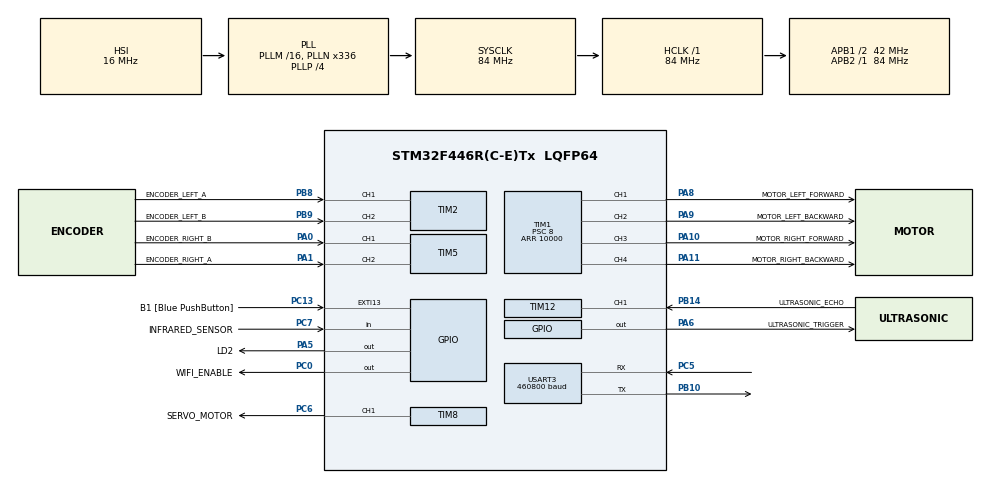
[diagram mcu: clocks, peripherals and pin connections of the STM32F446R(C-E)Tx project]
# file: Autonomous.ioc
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FREERTOS.Tasks01=DiffDriveTask,48,256,MoveDiffDrive,Default,NULL,Dynamic,NULL,NULL;TrajGenTask,48,128,TrajectoryGenerator,Default,NULL,Dynamic,NULL,NULL;InfraredTask,48,128,InfraredSensor,Default,NULL,Dynamic,NULL,NULL;TxTask,48,512,TxStream,Default,NULL,Dynamic,NULL,NULL
FREERTOS.configUSE_NEWLIB_REENTRANT=1
Mcu.Family=STM32F4
Mcu.Name=STM32F446R(C-E)Tx
Mcu.Package=LQFP64
NVIC.PriorityGroup=NVIC_PRIORITYGROUP_4
NVIC.TIM3_IRQn=true\:5\:0\:false\:false\:true\:true\:true\:true
NVIC.TIM6_DAC_IRQn=true\:0\:0\:false\:false\:true\:false\:false\:true
NVIC.TIM8_BRK_TIM12_IRQn=true\:5\:0\:false\:false\:true\:true\:true\:true
NVIC.TimeBase=TIM6_DAC_IRQn
NVIC.TimeBaseIP=TIM6
PA0-WKUP.GPIO_Label=ENCODER_RIGHT_B
PA0-WKUP.Signal=S_TIM5_CH1
PA1.GPIO_Label=ENCODER_RIGHT_A
PA1.Signal=S_TIM5_CH2
PA10.GPIO_Label=MOTOR_RIGHT_FORWARD
PA10.Signal=S_TIM1_CH3
PA11.GPIO_Label=MOTOR_RIGHT_BACKWARD
PA11.Signal=S_TIM1_CH4
PA13.GPIO_Label=TMS
PA13.Mode=Serial_Wire
PA13.Signal=SYS_JTMS-SWDIO
PA14.GPIO_Label=TCK
PA14.Mode=Serial_Wire
PA14.Signal=SYS_JTCK-SWCLK
PA2.GPIO_Label=USART_TX
PA2.Signal=USART2_TX
PA3.GPIO_Label=USART_RX
PA3.Signal=USART2_RX
PA5.GPIO_Label=LD2
PA5.Signal=GPIO_Output
PA6.GPIO_Label=ULTRASONIC_TRIGGER
PA6.Signal=GPIO_Output
PA8.GPIO_Label=MOTOR_LEFT_FORWARD
PA8.Signal=S_TIM1_CH1
PA9.GPIO_Label=MOTOR_LEFT_BACKWARD
PA9.Signal=S_TIM1_CH2
PB10.Mode=Asynchronous
PB10.Signal=USART3_TX
PB14.GPIO_Label=ULTRASONIC_ECHO
PB14.Signal=S_TIM12_CH1
PB3.GPIO_Label=SWO
PB3.Signal=SYS_JTDO-SWO
PB8.GPIO_Label=ENCODER_LEFT_A
PB8.Signal=S_TIM2_CH1_ETR
PB9.GPIO_Label=ENCODER_LEFT_B
PB9.Signal=S_TIM2_CH2
PC0.GPIO_Label=WIFI_ENABLE
PC0.GPIO_PuPd=GPIO_NOPULL
PC0.PinState=GPIO_PIN_RESET
PC0.Signal=GPIO_Output
PC13.GPIO_Label=B1 [Blue PushButton]
PC13.GPIO_ModeDefaultEXTI=GPIO_MODE_IT_FALLING
PC13.Signal=GPXTI13
PC14-OSC32_IN.Mode=LSE-External-Oscillator
PC14-OSC32_IN.Signal=RCC_OSC32_IN
PC15-OSC32_OUT.Mode=LSE-External-Oscillator
PC15-OSC32_OUT.Signal=RCC_OSC32_OUT
PC5.Mode=Asynchronous
PC5.Signal=USART3_RX
PC6.GPIO_Label=SERVO_MOTOR
PC6.Signal=S_TIM8_CH1
PC7.GPIO_Label=INFRARED_SENSOR
PC7.Signal=GPIO_Input
PH0-OSC_IN.Mode=HSE-External-Oscillator
PH0-OSC_IN.Signal=RCC_OSC_IN
PH1-OSC_OUT.Mode=HSE-External-Oscillator
PH1-OSC_OUT.Signal=RCC_OSC_OUT
ProjectManager.HeapSize=0x200
ProjectManager.StackSize=0x400
ProjectManager.TargetToolchain=STM32CubeIDE
RCC.48MHZClocksFreq_Value=84000000
RCC.AHBFreq_Value=84000000
RCC.APB1CLKDivider=RCC_HCLK_DIV2
RCC.APB1Freq_Value=42000000
RCC.APB1TimFreq_Value=84000000
RCC.APB2Freq_Value=84000000
RCC.APB2TimFreq_Value=84000000
RCC.CortexFreq_Value=84000000
RCC.FLatency-AdvancedSettings=FLASH_LATENCY_2
RCC.HCLKFreq_Value=84000000
RCC.HSE_VALUE=8000000
RCC.HSI_VALUE=16000000
RCC.PLLN=336
RCC.PLLP=RCC_PLLP_DIV4
RCC.SYSCLKFreq_VALUE=84000000
RCC.SYSCLKSource=RCC_SYSCLKSOURCE_PLLCLK
RCC.USBFreq_Value=168000000
RCC.VCOOutputFreq_Value=336000000
SH.S_TIM12_CH1.0=TIM12_CH1,Input_Capture1_from_TI1
SH.S_TIM1_CH1.0=TIM1_CH1,PWM Generation1 CH1
SH.S_TIM1_CH2.0=TIM1_CH2,PWM Generation2 CH2
SH.S_TIM1_CH3.0=TIM1_CH3,PWM Generation3 CH3
SH.S_TIM1_CH4.0=TIM1_CH4,PWM Generation4 CH4
SH.S_TIM2_CH1_ETR.0=TIM2_CH1,Encoder_Interface
SH.S_TIM2_CH2.0=TIM2_CH2,Encoder_Interface
SH.S_TIM5_CH1.0=TIM5_CH1,Encoder_Interface
SH.S_TIM5_CH2.0=TIM5_CH2,Encoder_Interface
SH.S_TIM8_CH1.0=TIM8_CH1,PWM Generation1 CH1
TIM1.Channel-PWM\ Generation1\ CH1=TIM_CHANNEL_1
TIM1.Channel-PWM\ Generation2\ CH2=TIM_CHANNEL_2
TIM1.Channel-PWM\ Generation3\ CH3=TIM_CHANNEL_3
TIM1.Channel-PWM\ Generation4\ CH4=TIM_CHANNEL_4
TIM1.Period=10000
TIM1.Prescaler=8
TIM12.Channel-Input_Capture1_from_TI1=TIM_CHANNEL_1
TIM12.ICPolarity_CH1=TIM_INPUTCHANNELPOLARITY_BOTHEDGE
TIM12.Period=0xffff
TIM12.Prescaler=84-1
TIM2.IC1Filter=15
TIM2.IC2Filter=15
TIM5.IC1Filter=15
TIM5.IC2Filter=15
TIM8.Channel-PWM\ Generation1\ CH1=TIM_CHANNEL_1
USART3.BaudRate=460800
USART3.VirtualMode=VM_ASYNC
VP_FREERTOS_VS_CMSIS_V2.Mode=CMSIS_V2
VP_SYS_VS_tim6.Mode=TIM6
VP_TIM12_VS_ClockSourceINT.Mode=Internal
VP_TIM1_VS_ClockSourceINT.Mode=Internal
VP_TIM3_VS_ClockSourceINT.Mode=Internal
VP_TIM8_VS_ClockSourceINT.Mode=Internal
board=NUCLEO-F446RE

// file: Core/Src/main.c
/* USER CODE BEGIN Header */
/**
  ******************************************************************************
  * @file           : main.c
  * @brief          : Main program body
  ******************************************************************************
  * @attention
  *
  * <h2><center>&copy; Copyright (c) 2021 STMicroelectronics.
  * All rights reserved.</center></h2>
  *
  * This software component is licensed by ST under BSD 3-Clause license,
  * the "License"; You may not use this file except in compliance with the
  * License. You may obtain a copy of the License at:
  *                        https://opensource.org/licenses/BSD-3-Clause
  *
  ******************************************************************************
  */
/* USER CODE END Header */
#include "main.h"
#include "cmsis_os.h"

/* USER CODE BEGIN Includes */

//#include "my_lib/retarget.h"
#include "my_lib/differential_drive.h"
#include "my_lib/datastream.h"
#include "my_lib/digital_filters.h"
#include "my_lib/ultrasonic_sensor.h"
#include "my_lib/servo.h"

#include <my_data/control_parameters.h>
#include "my_data/diffdrive_parameters.h"

#include "stdbool.h"

#include <stdio.h>
#include <stdlib.h>
#include <math.h>

/* USER CODE END Includes */

/* USER CODE BEGIN PD */

//#define TEST_ULTRASONIC

/* USER CODE END PD */

TIM_HandleTypeDef htim1;
TIM_HandleTypeDef htim2;
TIM_HandleTypeDef htim3;
TIM_HandleTypeDef htim5;
TIM_HandleTypeDef htim8;
TIM_HandleTypeDef htim12;

UART_HandleTypeDef huart3;

/* Definitions for DiffDriveTask */
osThreadId_t DiffDriveTaskHandle;
const osThreadAttr_t DiffDriveTask_attributes = {
  .name = "DiffDriveTask",
  .stack_size = 256 * 4,
  .priority = (osPriority_t) osPriorityRealtime,
};
/* Definitions for TrajGenTask */
osThreadId_t TrajGenTaskHandle;
const osThreadAttr_t TrajGenTask_attributes = {
  .name = "TrajGenTask",
  .stack_size = 128 * 4,
  .priority = (osPriority_t) osPriorityRealtime,
};
/* Definitions for InfraredTask */
osThreadId_t InfraredTaskHandle;
const osThreadAttr_t InfraredTask_attributes = {
  .name = "InfraredTask",
  .stack_size = 128 * 4,
  .priority = (osPriority_t) osPriorityRealtime,
};
/* Definitions for TxTask */
osThreadId_t TxTaskHandle;
const osThreadAttr_t TxTask_attributes = {
  .name = "TxTask",
  .stack_size = 512 * 4,
  .priority = (osPriority_t) osPriorityRealtime,
};
/* USER CODE BEGIN PV */

// Handles of my libraries

DIFFDRIVE_HandleTypeDef  hdiffdrive;
MAF_HandleTypeDef        hmaf_trajGen_v;
MAF_HandleTypeDef        hmaf_trajGen_om;
MAF_HandleTypeDef        hmaf_diffDrive_v;
MAF_HandleTypeDef        hmaf_diffDrive_om;
MAF_HandleTypeDef		 hfilter_infrared;

ULTRASONIC_HandleTypeDef hultra;
SERVO_HandleTypeDef      hservo;
DATASTREAM_HandleTypeDef hstream;

/* USER CODE END PV */

void SystemClock_Config(void);
static void MX_GPIO_Init(void);
static void MX_TIM2_Init(void);
static void MX_TIM1_Init(void);
static void MX_TIM3_Init(void);
static void MX_TIM5_Init(void);
static void MX_TIM12_Init(void);
static void MX_TIM8_Init(void);
static void MX_USART3_UART_Init(void);
void MoveDiffDrive(void *argument);
void TrajectoryGenerator(void *argument);
void InfraredSensor(void *argument);
void TxStream(void *argument);

/* USER CODE BEGIN PFP */

static void MAIN_DIFFDRIVE_Init(void);
static void MAIN_ULTRASONIC_Init(void);
static void MAIN_MAF_Init(void);
static void MAIN_SERVO_Init(void);
static void MAIN_DATASTREAM_Init(void);

/* USER CODE END PFP */

/* USER CODE BEGIN 0 */

/* Globals */

// ---- Global variables, shared between threads ------ //

volatile float linear=0, angular=0;
volatile bool near_obstacle= true;
volatile bool diffDrive_enabled= true;
volatile bool diffDrive_stopped= true;

/* USER CODE END 0 */

int main(void)
{

  /* MCU Configuration--------------------------------------------------------*/

  /* Reset of all peripherals, Initializes the Flash interface and the Systick. */
  HAL_Init();

  /* Configure the system clock */
  SystemClock_Config();

  /* Initialize all configured peripherals */
  MX_GPIO_Init();
  MX_TIM2_Init();
  MX_TIM1_Init();
  MX_TIM3_Init();
  MX_TIM5_Init();
  MX_TIM12_Init();
  MX_TIM8_Init();
  MX_USART3_UART_Init();
  /* USER CODE BEGIN 2 */

  // Initialize my libraries
  MAIN_DIFFDRIVE_Init();
  MAIN_DATASTREAM_Init();
  MAIN_ULTRASONIC_Init();
  MAIN_MAF_Init();
  MAIN_SERVO_Init();

  // Wait until blue button is pressed
  while( HAL_GPIO_ReadPin(B1_GPIO_Port, B1_Pin) )
  		;

  // Wait a bit
  HAL_Delay(1000);

  /* USER CODE END 2 */

  /* Init scheduler */
  osKernelInitialize();

  /* Create the thread(s) */
  /* creation of DiffDriveTask */
  DiffDriveTaskHandle = osThreadNew(MoveDiffDrive, NULL, &DiffDriveTask_attributes);

  /* creation of TrajGenTask */
  TrajGenTaskHandle = osThreadNew(TrajectoryGenerator, NULL, &TrajGenTask_attributes);

  /* creation of InfraredTask */
  InfraredTaskHandle = osThreadNew(InfraredSensor, NULL, &InfraredTask_attributes);

  /* creation of TxTask */
  TxTaskHandle = osThreadNew(TxStream, NULL, &TxTask_attributes);

  /* Start scheduler */
  osKernelStart();

  /* We should never get here as control is now taken by the scheduler */
  /* Infinite loop */
  while (1)
  {

  }
}

void SystemClock_Config(void)
{
  RCC_OscInitTypeDef RCC_OscInitStruct = {0};
  RCC_ClkInitTypeDef RCC_ClkInitStruct = {0};

  /** Configure the main internal regulator output voltage
  */
  __HAL_RCC_PWR_CLK_ENABLE();
  __HAL_PWR_VOLTAGESCALING_CONFIG(PWR_REGULATOR_VOLTAGE_SCALE3);
  /** Initializes the RCC Oscillators according to the specified parameters
  * in the RCC_OscInitTypeDef structure.
  */
  RCC_OscInitStruct.OscillatorType = RCC_OSCILLATORTYPE_HSI;
  RCC_OscInitStruct.HSIState = RCC_HSI_ON;
  RCC_OscInitStruct.HSICalibrationValue = RCC_HSICALIBRATION_DEFAULT;
  RCC_OscInitStruct.PLL.PLLState = RCC_PLL_ON;
  RCC_OscInitStruct.PLL.PLLSource = RCC_PLLSOURCE_HSI;
  RCC_OscInitStruct.PLL.PLLM = 16;
  RCC_OscInitStruct.PLL.PLLN = 336;
  RCC_OscInitStruct.PLL.PLLP = RCC_PLLP_DIV4;
  RCC_OscInitStruct.PLL.PLLQ = 2;
  RCC_OscInitStruct.PLL.PLLR = 2;
  if (HAL_RCC_OscConfig(&RCC_OscInitStruct) != HAL_OK)
  {
    Error_Handler();
  }
  /** Initializes the CPU, AHB and APB buses clocks
  */
  RCC_ClkInitStruct.ClockType = RCC_CLOCKTYPE_HCLK|RCC_CLOCKTYPE_SYSCLK
                              |RCC_CLOCKTYPE_PCLK1|RCC_CLOCKTYPE_PCLK2;
  RCC_ClkInitStruct.SYSCLKSource = RCC_SYSCLKSOURCE_PLLCLK;
  RCC_ClkInitStruct.AHBCLKDivider = RCC_SYSCLK_DIV1;
  RCC_ClkInitStruct.APB1CLKDivider = RCC_HCLK_DIV2;
  RCC_ClkInitStruct.APB2CLKDivider = RCC_HCLK_DIV1;

  if (HAL_RCC_ClockConfig(&RCC_ClkInitStruct, FLASH_LATENCY_2) != HAL_OK)
  {
    Error_Handler();
  }
}

static void MX_TIM1_Init(void)
{

  TIM_ClockConfigTypeDef sClockSourceConfig = {0};
  TIM_MasterConfigTypeDef sMasterConfig = {0};
  TIM_OC_InitTypeDef sConfigOC = {0};
  TIM_BreakDeadTimeConfigTypeDef sBreakDeadTimeConfig = {0};

  htim1.Instance = TIM1;
  htim1.Init.Prescaler = 8;
  htim1.Init.CounterMode = TIM_COUNTERMODE_UP;
  htim1.Init.Period = 10000;
  htim1.Init.ClockDivision = TIM_CLOCKDIVISION_DIV1;
  htim1.Init.RepetitionCounter = 0;
  htim1.Init.AutoReloadPreload = TIM_AUTORELOAD_PRELOAD_DISABLE;
  if (HAL_TIM_Base_Init(&htim1) != HAL_OK)
  {
    Error_Handler();
  }
  sClockSourceConfig.ClockSource = TIM_CLOCKSOURCE_INTERNAL;
  if (HAL_TIM_ConfigClockSource(&htim1, &sClockSourceConfig) != HAL_OK)
  {
    Error_Handler();
  }
  if (HAL_TIM_PWM_Init(&htim1) != HAL_OK)
  {
    Error_Handler();
  }
  sMasterConfig.MasterOutputTrigger = TIM_TRGO_RESET;
  sMasterConfig.MasterSlaveMode = TIM_MASTERSLAVEMODE_DISABLE;
  if (HAL_TIMEx_MasterConfigSynchronization(&htim1, &sMasterConfig) != HAL_OK)
  {
    Error_Handler();
  }
  sConfigOC.OCMode = TIM_OCMODE_PWM1;
  sConfigOC.Pulse = 0;
  sConfigOC.OCPolarity = TIM_OCPOLARITY_HIGH;
  sConfigOC.OCNPolarity = TIM_OCNPOLARITY_HIGH;
  sConfigOC.OCFastMode = TIM_OCFAST_DISABLE;
  sConfigOC.OCIdleState = TIM_OCIDLESTATE_RESET;
  sConfigOC.OCNIdleState = TIM_OCNIDLESTATE_RESET;
  if (HAL_TIM_PWM_ConfigChannel(&htim1, &sConfigOC, TIM_CHANNEL_1) != HAL_OK)
  {
    Error_Handler();
  }
  if (HAL_TIM_PWM_ConfigChannel(&htim1, &sConfigOC, TIM_CHANNEL_2) != HAL_OK)
  {
    Error_Handler();
  }
  if (HAL_TIM_PWM_ConfigChannel(&htim1, &sConfigOC, TIM_CHANNEL_3) != HAL_OK)
  {
    Error_Handler();
  }
  if (HAL_TIM_PWM_ConfigChannel(&htim1, &sConfigOC, TIM_CHANNEL_4) != HAL_OK)
  {
    Error_Handler();
  }
  sBreakDeadTimeConfig.OffStateRunMode = TIM_OSSR_DISABLE;
  sBreakDeadTimeConfig.OffStateIDLEMode = TIM_OSSI_DISABLE;
  sBreakDeadTimeConfig.LockLevel = TIM_LOCKLEVEL_OFF;
  sBreakDeadTimeConfig.DeadTime = 0;
  sBreakDeadTimeConfig.BreakState = TIM_BREAK_DISABLE;
  sBreakDeadTimeConfig.BreakPolarity = TIM_BREAKPOLARITY_HIGH;
  sBreakDeadTimeConfig.AutomaticOutput = TIM_AUTOMATICOUTPUT_DISABLE;
  if (HAL_TIMEx_ConfigBreakDeadTime(&htim1, &sBreakDeadTimeConfig) != HAL_OK)
  {
    Error_Handler();
  }
  HAL_TIM_MspPostInit(&htim1);

}

static void MX_TIM2_Init(void)
{

  TIM_Encoder_InitTypeDef sConfig = {0};
  TIM_MasterConfigTypeDef sMasterConfig = {0};

  htim2.Instance = TIM2;
  htim2.Init.Prescaler = 0;
  htim2.Init.CounterMode = TIM_COUNTERMODE_UP;
  htim2.Init.Period = 4294967295;
  htim2.Init.ClockDivision = TIM_CLOCKDIVISION_DIV1;
  htim2.Init.AutoReloadPreload = TIM_AUTORELOAD_PRELOAD_DISABLE;
  sConfig.EncoderMode = TIM_ENCODERMODE_TI1;
  sConfig.IC1Polarity = TIM_ICPOLARITY_RISING;
  sConfig.IC1Selection = TIM_ICSELECTION_DIRECTTI;
  sConfig.IC1Prescaler = TIM_ICPSC_DIV1;
  sConfig.IC1Filter = 15;
  sConfig.IC2Polarity = TIM_ICPOLARITY_RISING;
  sConfig.IC2Selection = TIM_ICSELECTION_DIRECTTI;
  sConfig.IC2Prescaler = TIM_ICPSC_DIV1;
  sConfig.IC2Filter = 15;
  if (HAL_TIM_Encoder_Init(&htim2, &sConfig) != HAL_OK)
  {
    Error_Handler();
  }
  sMasterConfig.MasterOutputTrigger = TIM_TRGO_RESET;
  sMasterConfig.MasterSlaveMode = TIM_MASTERSLAVEMODE_DISABLE;
  if (HAL_TIMEx_MasterConfigSynchronization(&htim2, &sMasterConfig) != HAL_OK)
  {
    Error_Handler();
  }

}

static void MX_TIM3_Init(void)
{

  TIM_ClockConfigTypeDef sClockSourceConfig = {0};
  TIM_MasterConfigTypeDef sMasterConfig = {0};

  htim3.Instance = TIM3;
  htim3.Init.Prescaler = 0;
  htim3.Init.CounterMode = TIM_COUNTERMODE_UP;
  htim3.Init.Period = 65535;
  htim3.Init.ClockDivision = TIM_CLOCKDIVISION_DIV1;
  htim3.Init.AutoReloadPreload = TIM_AUTORELOAD_PRELOAD_DISABLE;
  if (HAL_TIM_Base_Init(&htim3) != HAL_OK)
  {
    Error_Handler();
  }
  sClockSourceConfig.ClockSource = TIM_CLOCKSOURCE_INTERNAL;
  if (HAL_TIM_ConfigClockSource(&htim3, &sClockSourceConfig) != HAL_OK)
  {
    Error_Handler();
  }
  sMasterConfig.MasterOutputTrigger = TIM_TRGO_RESET;
  sMasterConfig.MasterSlaveMode = TIM_MASTERSLAVEMODE_DISABLE;
  if (HAL_TIMEx_MasterConfigSynchronization(&htim3, &sMasterConfig) != HAL_OK)
  {
    Error_Handler();
  }

}

static void MX_TIM5_Init(void)
{

  TIM_Encoder_InitTypeDef sConfig = {0};
  TIM_MasterConfigTypeDef sMasterConfig = {0};

  htim5.Instance = TIM5;
  htim5.Init.Prescaler = 0;
  htim5.Init.CounterMode = TIM_COUNTERMODE_UP;
  htim5.Init.Period = 4294967295;
  htim5.Init.ClockDivision = TIM_CLOCKDIVISION_DIV1;
  htim5.Init.AutoReloadPreload = TIM_AUTORELOAD_PRELOAD_DISABLE;
  sConfig.EncoderMode = TIM_ENCODERMODE_TI1;
  sConfig.IC1Polarity = TIM_ICPOLARITY_RISING;
  sConfig.IC1Selection = TIM_ICSELECTION_DIRECTTI;
  sConfig.IC1Prescaler = TIM_ICPSC_DIV1;
  sConfig.IC1Filter = 15;
  sConfig.IC2Polarity = TIM_ICPOLARITY_RISING;
  sConfig.IC2Selection = TIM_ICSELECTION_DIRECTTI;
  sConfig.IC2Prescaler = TIM_ICPSC_DIV1;
  sConfig.IC2Filter = 15;
  if (HAL_TIM_Encoder_Init(&htim5, &sConfig) != HAL_OK)
  {
    Error_Handler();
  }
  sMasterConfig.MasterOutputTrigger = TIM_TRGO_RESET;
  sMasterConfig.MasterSlaveMode = TIM_MASTERSLAVEMODE_DISABLE;
  if (HAL_TIMEx_MasterConfigSynchronization(&htim5, &sMasterConfig) != HAL_OK)
  {
    Error_Handler();
  }

}

static void MX_TIM8_Init(void)
{

  TIM_ClockConfigTypeDef sClockSourceConfig = {0};
  TIM_MasterConfigTypeDef sMasterConfig = {0};
  TIM_OC_InitTypeDef sConfigOC = {0};
  TIM_BreakDeadTimeConfigTypeDef sBreakDeadTimeConfig = {0};

  htim8.Instance = TIM8;
  htim8.Init.Prescaler = 0;
  htim8.Init.CounterMode = TIM_COUNTERMODE_UP;
  htim8.Init.Period = 65535;
  htim8.Init.ClockDivision = TIM_CLOCKDIVISION_DIV1;
  htim8.Init.RepetitionCounter = 0;
  htim8.Init.AutoReloadPreload = TIM_AUTORELOAD_PRELOAD_DISABLE;
  if (HAL_TIM_Base_Init(&htim8) != HAL_OK)
  {
    Error_Handler();
  }
  sClockSourceConfig.ClockSource = TIM_CLOCKSOURCE_INTERNAL;
  if (HAL_TIM_ConfigClockSource(&htim8, &sClockSourceConfig) != HAL_OK)
  {
    Error_Handler();
  }
  if (HAL_TIM_PWM_Init(&htim8) != HAL_OK)
  {
    Error_Handler();
  }
  sMasterConfig.MasterOutputTrigger = TIM_TRGO_RESET;
  sMasterConfig.MasterSlaveMode = TIM_MASTERSLAVEMODE_DISABLE;
  if (HAL_TIMEx_MasterConfigSynchronization(&htim8, &sMasterConfig) != HAL_OK)
  {
    Error_Handler();
  }
  sConfigOC.OCMode = TIM_OCMODE_PWM1;
  sConfigOC.Pulse = 0;
  sConfigOC.OCPolarity = TIM_OCPOLARITY_HIGH;
  sConfigOC.OCNPolarity = TIM_OCNPOLARITY_HIGH;
  sConfigOC.OCFastMode = TIM_OCFAST_DISABLE;
  sConfigOC.OCIdleState = TIM_OCIDLESTATE_RESET;
  sConfigOC.OCNIdleState = TIM_OCNIDLESTATE_RESET;
  if (HAL_TIM_PWM_ConfigChannel(&htim8, &sConfigOC, TIM_CHANNEL_1) != HAL_OK)
  {
    Error_Handler();
  }
  sBreakDeadTimeConfig.OffStateRunMode = TIM_OSSR_DISABLE;
  sBreakDeadTimeConfig.OffStateIDLEMode = TIM_OSSI_DISABLE;
  sBreakDeadTimeConfig.LockLevel = TIM_LOCKLEVEL_OFF;
  sBreakDeadTimeConfig.DeadTime = 0;
  sBreakDeadTimeConfig.BreakState = TIM_BREAK_DISABLE;
  sBreakDeadTimeConfig.BreakPolarity = TIM_BREAKPOLARITY_HIGH;
  sBreakDeadTimeConfig.AutomaticOutput = TIM_AUTOMATICOUTPUT_DISABLE;
  if (HAL_TIMEx_ConfigBreakDeadTime(&htim8, &sBreakDeadTimeConfig) != HAL_OK)
  {
    Error_Handler();
  }
  HAL_TIM_MspPostInit(&htim8);

}

static void MX_TIM12_Init(void)
{

  TIM_ClockConfigTypeDef sClockSourceConfig = {0};
  TIM_IC_InitTypeDef sConfigIC = {0};

  htim12.Instance = TIM12;
  htim12.Init.Prescaler = 84-1;
  htim12.Init.CounterMode = TIM_COUNTERMODE_UP;
  htim12.Init.Period = 0xffff;
  htim12.Init.ClockDivision = TIM_CLOCKDIVISION_DIV1;
  htim12.Init.AutoReloadPreload = TIM_AUTORELOAD_PRELOAD_DISABLE;
  if (HAL_TIM_Base_Init(&htim12) != HAL_OK)
  {
    Error_Handler();
  }
  sClockSourceConfig.ClockSource = TIM_CLOCKSOURCE_INTERNAL;
  if (HAL_TIM_ConfigClockSource(&htim12, &sClockSourceConfig) != HAL_OK)
  {
    Error_Handler();
  }
  if (HAL_TIM_IC_Init(&htim12) != HAL_OK)
  {
    Error_Handler();
  }
  sConfigIC.ICPolarity = TIM_INPUTCHANNELPOLARITY_BOTHEDGE;
  sConfigIC.ICSelection = TIM_ICSELECTION_DIRECTTI;
  sConfigIC.ICPrescaler = TIM_ICPSC_DIV1;
  sConfigIC.ICFilter = 0;
  if (HAL_TIM_IC_ConfigChannel(&htim12, &sConfigIC, TIM_CHANNEL_1) != HAL_OK)
  {
    Error_Handler();
  }

}

static void MX_USART3_UART_Init(void)
{

  huart3.Instance = USART3;
  huart3.Init.BaudRate = 460800;
  huart3.Init.WordLength = UART_WORDLENGTH_8B;
  huart3.Init.StopBits = UART_STOPBITS_1;
  huart3.Init.Parity = UART_PARITY_NONE;
  huart3.Init.Mode = UART_MODE_TX_RX;
  huart3.Init.HwFlowCtl = UART_HWCONTROL_NONE;
  huart3.Init.OverSampling = UART_OVERSAMPLING_16;
  if (HAL_UART_Init(&huart3) != HAL_OK)
  {
    Error_Handler();
  }

}

static void MX_GPIO_Init(void)
{
  GPIO_InitTypeDef GPIO_InitStruct = {0};

  /* GPIO Ports Clock Enable */
  __HAL_RCC_GPIOC_CLK_ENABLE();
  __HAL_RCC_GPIOH_CLK_ENABLE();
  __HAL_RCC_GPIOA_CLK_ENABLE();
  __HAL_RCC_GPIOB_CLK_ENABLE();

  /*Configure GPIO pin Output Level */
  HAL_GPIO_WritePin(WIFI_ENABLE_GPIO_Port, WIFI_ENABLE_Pin, GPIO_PIN_RESET);

  /*Configure GPIO pin Output Level */
  HAL_GPIO_WritePin(GPIOA, LD2_Pin|ULTRASONIC_TRIGGER_Pin, GPIO_PIN_RESET);

  /*Configure GPIO pin : B1_Pin */
  GPIO_InitStruct.Pin = B1_Pin;
  GPIO_InitStruct.Mode = GPIO_MODE_IT_FALLING;
  GPIO_InitStruct.Pull = GPIO_NOPULL;
  HAL_GPIO_Init(B1_GPIO_Port, &GPIO_InitStruct);

  /*Configure GPIO pin : WIFI_ENABLE_Pin */
  GPIO_InitStruct.Pin = WIFI_ENABLE_Pin;
  GPIO_InitStruct.Mode = GPIO_MODE_OUTPUT_PP;
  GPIO_InitStruct.Pull = GPIO_NOPULL;
  GPIO_InitStruct.Speed = GPIO_SPEED_FREQ_LOW;
  HAL_GPIO_Init(WIFI_ENABLE_GPIO_Port, &GPIO_InitStruct);

  /*Configure GPIO pins : USART_TX_Pin USART_RX_Pin */
  GPIO_InitStruct.Pin = USART_TX_Pin|USART_RX_Pin;
  GPIO_InitStruct.Mode = GPIO_MODE_AF_PP;
  GPIO_InitStruct.Pull = GPIO_NOPULL;
  GPIO_InitStruct.Speed = GPIO_SPEED_FREQ_VERY_HIGH;
  GPIO_InitStruct.Alternate = GPIO_AF7_USART2;
  HAL_GPIO_Init(GPIOA, &GPIO_InitStruct);

  /*Configure GPIO pins : LD2_Pin ULTRASONIC_TRIGGER_Pin */
  GPIO_InitStruct.Pin = LD2_Pin|ULTRASONIC_TRIGGER_Pin;
  GPIO_InitStruct.Mode = GPIO_MODE_OUTPUT_PP;
  GPIO_InitStruct.Pull = GPIO_NOPULL;
  GPIO_InitStruct.Speed = GPIO_SPEED_FREQ_LOW;
  HAL_GPIO_Init(GPIOA, &GPIO_InitStruct);

  /*Configure GPIO pin : INFRARED_SENSOR_Pin */
  GPIO_InitStruct.Pin = INFRARED_SENSOR_Pin;
  GPIO_InitStruct.Mode = GPIO_MODE_INPUT;
  GPIO_InitStruct.Pull = GPIO_NOPULL;
  HAL_GPIO_Init(INFRARED_SENSOR_GPIO_Port, &GPIO_InitStruct);

}

/* USER CODE BEGIN 4 */

static void MAIN_DATASTREAM_Init(void){

	DATASTREAM_InitTypeDef DATASTREAM_InitStruct;

	DATASTREAM_InitStruct.DMA_Rx_Enable= false;
	DATASTREAM_InitStruct.huart= &huart3;

	hstream.Init= DATASTREAM_InitStruct;

	DATASTREAM_Init(&hstream);

}

static void MAIN_DIFFDRIVE_Init(void){

	uint16_t max_sample= 1200u;

	hdiffdrive.Init.timing_htim= &htim3;
	hdiffdrive.Init.timing_time_step= TIME_STEP;

	hdiffdrive.Init.encoder_htim[left ]= &htim2;
	hdiffdrive.Init.encoder_htim[right]= &htim5;
	hdiffdrive.Init.encoder_tim_channel[left ]= TIM_CHANNEL_1;
	hdiffdrive.Init.encoder_tim_channel[right]= TIM_CHANNEL_1;
	hdiffdrive.Init.encoder_tim_arr_resolution[left ]= 32;
	hdiffdrive.Init.encoder_tim_arr_resolution[right]= 32;

	hdiffdrive.Init.encoder_resolution[left ]= 1900; //1920; // Number of step each wheel revolution
	hdiffdrive.Init.encoder_resolution[right]= 1900; //1920;

	hdiffdrive.Init.motor_htim[left ][forward ]= &htim1;
	hdiffdrive.Init.motor_htim[left ][backward]= &htim1;
	hdiffdrive.Init.motor_htim[right][forward ]= &htim1;
	hdiffdrive.Init.motor_htim[right][backward]= &htim1;

	hdiffdrive.Init.motor_pwm_channel[left ][forward ]= TIM_CHANNEL_1;
	hdiffdrive.Init.motor_pwm_channel[left ][backward]= TIM_CHANNEL_2;
	hdiffdrive.Init.motor_pwm_channel[right][forward ]= TIM_CHANNEL_3;
	hdiffdrive.Init.motor_pwm_channel[right][backward]= TIM_CHANNEL_4;

	hdiffdrive.Init.motor_max_voltage[left ]= 	 MOTOR_MAX_VOLTAGE;
	hdiffdrive.Init.motor_max_voltage[right]= 	 MOTOR_MAX_VOLTAGE;
	hdiffdrive.Init.motor_min_voltage[left ]= 	 MOTOR_MIN_VOLTAGE;
	hdiffdrive.Init.motor_min_voltage[right]= 	 MOTOR_MIN_VOLTAGE;
	hdiffdrive.Init.motor_supply_voltage[left]=  SUPPLY_VOLTAGE;
	hdiffdrive.Init.motor_supply_voltage[right]= SUPPLY_VOLTAGE;

	hdiffdrive.Init.control_fdfrwrd_arma_AR[left ]= AR_L;
	hdiffdrive.Init.control_fdfrwrd_arma_AR[right]= AR_R;
	hdiffdrive.Init.control_fdfrwrd_arma_MA[left ]= MA_L;
	hdiffdrive.Init.control_fdfrwrd_arma_MA[right]= MA_R;
	hdiffdrive.Init.control_fdfrwrd_arma_n_ar[left ]= N_AR_L;
	hdiffdrive.Init.control_fdfrwrd_arma_n_ar[right]= N_AR_R;
	hdiffdrive.Init.control_fdfrwrd_arma_n_ma[left ]= N_MA_L;
	hdiffdrive.Init.control_fdfrwrd_arma_n_ma[right]= N_MA_R;
	hdiffdrive.Init.control_fdfrwrd_arma_tau[left ]= TAU_L;
	hdiffdrive.Init.control_fdfrwrd_arma_tau[right]= TAU_R;

	hdiffdrive.Init.control_pid_P[left ]= PID_P_L;
	hdiffdrive.Init.control_pid_P[right]= PID_P_R;
	hdiffdrive.Init.control_pid_I[left ]= PID_I_L;
	hdiffdrive.Init.control_pid_I[right]= PID_I_R;
	hdiffdrive.Init.control_pid_D[left ]= PID_D_L;
	hdiffdrive.Init.control_pid_D[right]= PID_D_R;

	hdiffdrive.Init.history_max_sample= max_sample;

	// --- Mechanical parameters (from real model) --- //
	hdiffdrive.Init.mech_prmtr_l= WHEEL_DISTANCE;
	hdiffdrive.Init.mech_prmtr_r= WHEEL_RADIUS;
	hdiffdrive.Init.mech_prmtr_max_wheel_speed= WHEEL_MAX_SPEED;

	// --- Initialize handle --- //
	DIFFDRIVE_Init(&hdiffdrive);

}

static void MAIN_ULTRASONIC_Init(void){

	hultra.Init.htim=           		&htim12;
	hultra.Init.history_lenght= 		100;
	hultra.Init.io_trig_GPIOx=   	    ULTRASONIC_TRIGGER_GPIO_Port;
	hultra.Init.io_trig_Pin=   			ULTRASONIC_TRIGGER_Pin;
	hultra.Init.io_echo_GPIOx=  		ULTRASONIC_ECHO_GPIO_Port;
	hultra.Init.io_echo_Pin=			ULTRASONIC_ECHO_Pin;
	hultra.Init.io_echo_IC_tim_channel= TIM_CHANNEL_1;

	ULTRASONIC_Init(&hultra);

}

// Moving Average Filter initialization --------------------------------------------- //
static void MAIN_MAF_Init(void){

	int filtr_v_size_1=  15; // 15;
	int filtr_om_size_1= 7; // 7;

	int filtr_v_size_2=  12;//50;
	int filtr_om_size_2= 12;//50;

	int filtr_infrared_size= 100;

	// Null pointer to use a MAF without weights
	void* weights_buff= NULL;

	// Creating filters
	hmaf_trajGen_v		 = MAF_Create(filtr_v_size_1, 	   weights_buff);
	hmaf_trajGen_om		 = MAF_Create(filtr_om_size_1, 	   weights_buff);
	hmaf_diffDrive_v     = MAF_Create(filtr_v_size_2,	   weights_buff);
	hmaf_diffDrive_om    = MAF_Create(filtr_om_size_2,     weights_buff);
	hfilter_infrared     = MAF_Create(filtr_infrared_size, weights_buff);

}

static void MAIN_SERVO_Init(void){

	hservo.Init.htim=        &htim8;
	hservo.Init.pwm_channel= TIM_CHANNEL_1;

	SERVO_Init(&hservo);

}

/* USER CODE END 4 */

void MoveDiffDrive(void *argument)
{
  /* USER CODE BEGIN 5 */

	// Local flag
	bool first_exception= true;

	// PID values
	float tmp_P= hdiffdrive.control[left].pid.P;
	float tmp_I= hdiffdrive.control[left].pid.I;

	// Speed variables
	float v, om;

	// Setting Global flags to indicate that Diff Drive is going to move
	diffDrive_stopped= false;

	// Start control
	DIFFDRIVE_TrackingStart();

	/* Infinite loop */
	for (;;) {

		// If movement is enabled
		if (diffDrive_enabled) {

			// Near obstacle not detected
			if (!near_obstacle) {

				// DO SOMETHING AT EXCEPTION END
				if (!first_exception) {

					// Restart motion
					DIFFDRIVE_TrackingSuspend();
					DIFFDRIVE_TrackingResume();

					MAF_Reset(&hmaf_diffDrive_v,  0);
					MAF_Reset(&hmaf_diffDrive_om, 0);

					hdiffdrive.control[left ].pid.P = tmp_P;
					hdiffdrive.control[right].pid.P = tmp_P;
					hdiffdrive.control[left ].pid.I = tmp_I;
					hdiffdrive.control[right].pid.I = tmp_I;
				}

				// Then set first = true
				first_exception = true;

				MAF_Update(&hmaf_diffDrive_v, linear);
				v = __MAF_GET_VAL(&hmaf_diffDrive_v);

				MAF_Update(&hmaf_diffDrive_om, angular);
				om = __MAF_GET_VAL(&hmaf_diffDrive_om);

			}
			// Near obstacle detected
			else {
				// DO SOMETHING AT EXCEPTION START
				if (first_exception) {

					hdiffdrive.control[left ].pid.P = tmp_P * 0.1;
					hdiffdrive.control[right].pid.P = tmp_P * 0.1;
					hdiffdrive.control[left ].pid.I = tmp_I * 0.1;
					hdiffdrive.control[right].pid.I = tmp_I * 0.1;
				}

				// Then set first = false
				first_exception = false;

				// Filtering values generated from TrajectoryGenerator task
				MAF_Update(&hmaf_diffDrive_v, linear);
				MAF_Update(&hmaf_diffDrive_om, angular);

				// Extract filtered values
				v =  __MAF_GET_VAL(&hmaf_diffDrive_v);
				om = __MAF_GET_VAL(&hmaf_diffDrive_om);
			}

			// If diff drive has been previously stopped
			if( diffDrive_stopped ){
				// Restart control
				DIFFDRIVE_TrackingResume();
				// Set flag to indicate that is going to move
				diffDrive_stopped= false;
			}

			// Make normal step of trajectory tracking
			DIFFDRIVE_TrackingStep(v, om);

		}
		// if movement is disabled and diffDrive is moving
		else if( !diffDrive_stopped ){
			// Suspend control (stop diff drive)
			DIFFDRIVE_TrackingSuspend();

			// Reset filters
			MAF_Reset(&hmaf_diffDrive_v,  0);
			MAF_Reset(&hmaf_diffDrive_om, 0);

			// Set global flag to indicate that diff drive is now stopped
			diffDrive_stopped= true;
		}
	}
  /* USER CODE END 5 */
}

void TrajectoryGenerator(void *argument)
{
  /* USER CODE BEGIN TrajectoryGenerator */

	// ------------ Servo variables ---------- //

	// Servo degree "equilibrium"
	float deg_eq= 82;

	// Array of angular position
	float deg_array[30];
	int N_deg= sizeof(deg_array)/sizeof(float);

	// Generate values for servo positions
	float deg_start= -8;
	for(int i=0; i<N_deg; i++)
		if( i <= N_deg/2 )
			deg_array[i]= deg_start+i*12;
		else
			deg_array[i]= deg_start+(N_deg-i)*12;

	// Counter variables
	int cnt_1=0, cnt_2=0;

	// ----------- Distance sensors variables ---------- //

	// Status variable
	ULTRASONIC_StatusTypeDef status;

	float distance;
	float distance_threshold= 15;

	float max_distance= ULTRASONIC_MAX_DISTANCE*0.5;
	float min_distance= ULTRASONIC_MIN_DISTANCE;

	// Infrared sensor variable
	float IR_val;

	// ------- Trajectory variables --------------------- //

	float v;
	float v_max; //= 0.003;

	float om;
	float om_max; //= 0.025;

	// Extracting Max wheels speed (radiant each second)
	float wheel_speed[2];
	float wheel_speed_max= hdiffdrive.mech_prmtr.max_wheel_speed;
	wheel_speed[left ]= wheel_speed_max;
	wheel_speed[right]= wheel_speed_max;

	// Delta_a_max computation (linear variation, is max when wheels rotate at max speed on same direction)
	DIFFDRIVE_WheelSpeed2TrajectorySpeed(&v_max, NULL, wheel_speed);
	v_max *= 1; // Here you could modulate max value

	// Delta_th_max computation (angular variation, is max when wheel rotate at max speed on opposite direction)
	wheel_speed[left]= -wheel_speed_max;
	DIFFDRIVE_WheelSpeed2TrajectorySpeed(NULL, &om_max, wheel_speed);
	om_max *= 1; // Here you could modulate max value

	/* Infinite loop */
	for(;;){
		for(int deg_idx=0; deg_idx < N_deg; deg_idx++){

			// Setting up sensor direction using a servo
			SERVO_SetDegree(&hservo, deg_array[deg_idx]);

			// Wait a bit for servo settlement and between ultrasonic acquisition
			osDelay(120);

			/* Capture measured distance */

			status= ULTRASONIC_CaptureMeasure(&hultra);

			// If there is an error set max distance (an error can occur when a sensor timeout
			// take place, because the ultrasonic signal is lost)
			if( status == ULTRASONIC_OK )
				distance= __ULTRASONIC_GET_DISTANCE(&hultra);
			else
				distance= max_distance;

			// Sensor fusion with IR Sensor
			IR_val = __MAF_GET_VAL(&hfilter_infrared);
			distance *= IR_val;

			// Set minimum distance
			if (distance < min_distance)
				distance = min_distance;

			/* Using measured distance and servo angular position to generate a trajectory */

			// Robot linear speed (direct proportional to distance) and negative below a distance threshold
			v = (distance - distance_threshold) * 4e-3;
			if (distance < distance_threshold)
				v *= 1.5;

			// Robot angular speed (inversely proportional to distance) with sign that
			// depends on servo current position
			if (deg_array[deg_idx] > deg_eq)
				om = -43.2/distance;
			else
				om =  43.2/distance;

			// Enroll angular variations
			if(fabsf(om) > om_max)
				// x/|x| == sign(x)
				om = om_max*om/fabsf(om);
			// 0 below between a fixed range
			if (fabsf(om) < 0.01)
				om = 0;
/*
			//
			// Compute v_max, to find a feasible trajectory, i.e. that respect wheel max speed rate.
			// Here I fix omega (angular speed), computed above, and I find the current max (feasible) linear value
			// Look at chapter 2, expression 1.11, on the links below (on STM32CubeIDE press CTRL and then click). You
			// have just to find the max or min v value (min is -max) with the constraints of omega fixed and
			// wheel_speed between the fixed range:
			//
			// https://github.com/FloydPeppe/Programmazione_Sistemi_Embedded_Automazione/blob/master/Relazione/Relazione_Progetto.pdf
			//
			float l= hdiffdrive.mech_prmtr.l;
			float r= hdiffdrive.mech_prmtr.r;
			if( om >= 0 )
				v_max= r*wheel_speed_max - om*l;
			else
				v_max= r*wheel_speed_max + om*l;
*/
			// Enroll linear variations
			if(fabsf(v) > v_max)
				// x/|x| == sign(x)
				v = v_max*v/fabsf(v);

			// If distance is above a fixed threshold use the generated trajectory variation
			if (distance > distance_threshold) {

				cnt_1 = 0;

				// No near obstacle detected
				near_obstacle = false;

				// Smoothing measure using a Moving Average Filter

				MAF_Update(&hmaf_trajGen_v, v);
				linear = __MAF_GET_VAL(&hmaf_trajGen_v);

				MAF_Update(&hmaf_trajGen_om, om);
				angular = __MAF_GET_VAL(&hmaf_trajGen_om);

			}
			// Otherwise, if distance is below a fixed threshold freeze servo in that position and move 'way from obstacle
			else {
				// This do freeze servo
				deg_idx--;
				if (++cnt_1 > 1 || IR_val <= 0.5) {

					// Trajectory following relaxed (it doesn't need to follow the trajectory perfectly, it just
					// need to move away from a really near obstacle)
					near_obstacle = true;

					/* Avoiding the use of filtered values to have a fast response near an obstacle. Anyway,
					      keep update filters just to not have discontinuities after this exception ends.     */

					// Force a minimum Delta_a value, otherwise, near threshold, sometimes robot stand still
					linear = (v - v_max * 0.1) * 1;

					if (linear > 0)
						linear = -linear;

					// Set current Delta_theta angle
					angular = om * 0.4;

					// Filters updates
					MAF_Update(&hmaf_trajGen_v, v);
					//linear= __MAF_GET_VAL(&hmaf_trajGen_v);
					MAF_Update(&hmaf_trajGen_om, angular);
					// angular= __MAF_GET_VAL(&hmaf_trajGen_om);

					// Freeze servo just for a fixed time
					if (cnt_1++ > 30) {
						cnt_1 = 0;
						deg_idx++;
						//v= -v;
					}
				}
			}

			if ( distance > distance_threshold && distance < distance_threshold * 4 ) {
				deg_idx--;
				if (cnt_2++ > 10) {
					cnt_2 = 0;
					deg_idx++;
				}
			}

			// Toggle led to see if the task is still running
			// HAL_GPIO_TogglePin(LD2_GPIO_Port, LD2_Pin);

#ifdef TEST_ULTRASONIC

		  // Transmit measured distance //
		  DATASTREAM_Print(&hstream, float_csv, 1, distance);

#endif /* TEST_ULTRASONIC */

		}
	}
  /* USER CODE END TrajectoryGenerator */
}

void InfraredSensor(void *argument)
{
  /* USER CODE BEGIN InfraredSensor */
	/* Infinite loop */

	// Infrared variable
	float sens = 0;

	for (;;) {

		// Read current value on IR pin (0 is obstacle detected, 1 is free space)
		sens = HAL_GPIO_ReadPin(INFRARED_SENSOR_GPIO_Port, INFRARED_SENSOR_Pin);

		// Use MAF filter to transform only 0 or 1 state in values that span from 0 to 1
		// (like a normalized distance measure)
		MAF_Update(&hfilter_infrared, sens);

		osDelay(1);
	}
  /* USER CODE END InfraredSensor */
}

void TxStream(void *argument)
{
  /* USER CODE BEGIN TxStream */

	// Variables I need later
	DIFFDRIVE_STATE_TypeDef state_measure, state_target;

	/* Infinite loop */
	for(;;){

		// If blue button is pressed
		if( !HAL_GPIO_ReadPin(B1_GPIO_Port, B1_Pin) ){

			// When I'm here, I use HAL_Delay(ms) and not osDelay(ms), because during Tx stream
			// I suspend other theads, so I don't need os timing. Moreover, osDelay sometimes hangs forever
			// without no reason, I guess 'cause other threads are suspended and scheduler try to wait for them.

			// Stop Differential Drive motion
			diffDrive_enabled= false;

			// Wait until diff drive is still
			while( !diffDrive_stopped )
				;

			// Suspend other threads while sending values
			osThreadSuspend(DiffDriveTaskHandle);
			osThreadSuspend(TrajGenTaskHandle);
			osThreadSuspend(InfraredTaskHandle);

			// Turn on LED
			HAL_GPIO_WritePin(LD2_GPIO_Port, LD2_Pin, GPIO_PIN_SET);

			// Reset ESP-8266
			HAL_GPIO_WritePin(WIFI_ENABLE_GPIO_Port, WIFI_ENABLE_Pin, GPIO_PIN_RESET);

			// Debounce button
			osDelay(200);

			// Send values forever
			for(;;){

				// If blue button is pressed again
				if( !HAL_GPIO_ReadPin(B1_GPIO_Port, B1_Pin) ){

					// Enable ESP-8266
					HAL_GPIO_WritePin(WIFI_ENABLE_GPIO_Port, WIFI_ENABLE_Pin, GPIO_PIN_SET);

					// Rapidly flash led to show MCU ready to send values
					for(int i=0; i<20; i++){
						HAL_GPIO_TogglePin(LD2_GPIO_Port, LD2_Pin);
						osDelay(50);
					}

					// Turn off LED
					HAL_GPIO_WritePin(LD2_GPIO_Port, LD2_Pin, GPIO_PIN_RESET);

					// Wait for 10 received chars, receiver must send something before to start receiving
					char ch[10];
					HAL_UART_Receive(&huart3, (uint8_t*) ch, sizeof(ch), HAL_MAX_DELAY);

					// Wait a bit
					osDelay(2000);

					// Histroy variable
					DIFFDRIVE_HISTORY_TypeDef tmphist= hdiffdrive.history;

					// Number of saved samples
					int N_sample;
					if( tmphist.sample_cnt < tmphist.max_sample )
						N_sample=  tmphist.sample_cnt;
					else
						N_sample=  tmphist.max_sample;

					// First values send is the actual number of samples
					DATASTREAM_Print(&hstream, int_csv, 1, N_sample);
					// Bit of transfer delay
					osDelay(5);

					// Init History Get function
					DIFFDRIVE_HISTORY_Get_Init();

					for(int k= 0; k < N_sample; k++){

						// Get one state sample from history
						DIFFDRIVE_HISTORY_Get_Sample(&state_measure, &state_target);

						// Send values to serial connected to ESP WiFi module
						DATASTREAM_Print(
								&hstream, float_csv, 18,
								state_measure.input[left], state_measure.input[right],
								state_target .input[left], state_target .input[right],
								state_measure.wheel[left], state_measure.wheel[right],
								state_target .wheel[left], state_target .wheel[right],
								state_measure.pose.x_a,    state_measure.pose.y_a,
								state_measure.pose.theta,  state_measure.pose.v,
								state_measure.pose.om,
                                state_target .pose.x_a,    state_target.pose.y_a,
								state_target .pose.theta,  state_target.pose.v,
								state_target .pose.om
						);
						// Bit of transfer delay
						osDelay(5);
						// Toggling led to show data transfer operation
						if( !(k%50) )
							HAL_GPIO_TogglePin(LD2_GPIO_Port, LD2_Pin);
					}

					// Turn off LED
					HAL_GPIO_WritePin(LD2_GPIO_Port, LD2_Pin, GPIO_PIN_RESET);

					// Reset ESP-8266
					HAL_GPIO_WritePin(WIFI_ENABLE_GPIO_Port, WIFI_ENABLE_Pin, GPIO_PIN_RESET);
				}
			}
		}
	}
  /* USER CODE END TxStream */
}

 /**
  * @brief  Period elapsed callback in non blocking mode
  * @note   This function is called  when TIM6 interrupt took place, inside
  * HAL_TIM_IRQHandler(). It makes a direct call to HAL_IncTick() to increment
  * a global variable "uwTick" used as application time base.
  * @param  htim : TIM handle
  * @retval None
  */
void HAL_TIM_PeriodElapsedCallback(TIM_HandleTypeDef *htim)
{
  if (htim->Instance == TIM6) {
    HAL_IncTick();
  }
}

void Error_Handler(void)
{
  __disable_irq();
  while (1)
  {
  }
}

/************************ (C) COPYRIGHT STMicroelectronics *****END OF FILE****/
